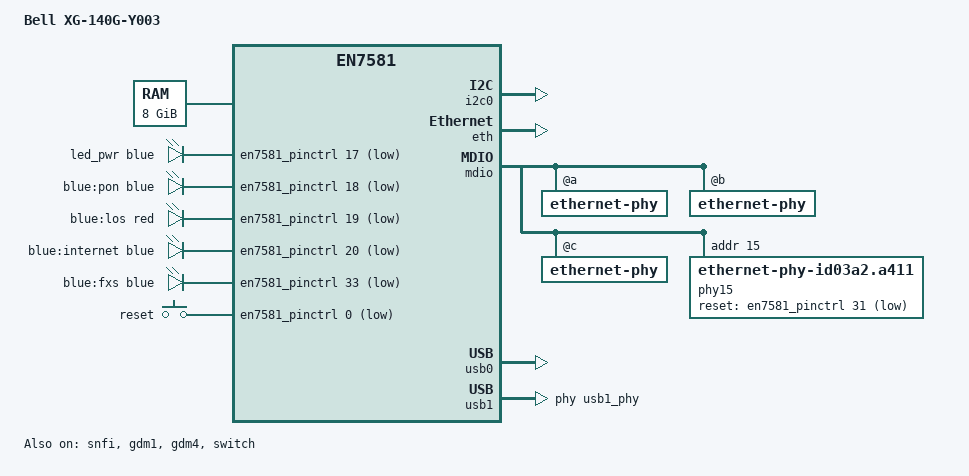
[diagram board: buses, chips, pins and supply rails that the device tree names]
// SPDX-License-Identifier: (GPL-2.0-only OR BSD-2-Clause)
/dts-v1/;

#include <dt-bindings/leds/common.h>
#include <dt-bindings/gpio/gpio.h>
#include <dt-bindings/input/input.h>
#include "an7581.dtsi"

/ {
	model = "Bell XG-140G-Y003";
	compatible = "bell,xg-140g-y003", "airoha,an7581", "airoha,en7581";

	aliases {
		serial0 = &uart1;

		led-boot = &led_pwr;
		led-failsafe = &led_pwr;
		led-running = &led_pwr;
		led-upgrade = &led_pwr;
	};

	chosen {
		bootargs-append = " root=/dev/ubiblock0_0 rootfstype=squashfs ro console=ttyS0,115200 earlycon";
		stdout-path = "serial0:115200n8";
	};

	memory@80000000 {
		device_type = "memory";
		reg = <0x0 0x80000000 0x2 0x00000000>;
	};

	leds {
		compatible = "gpio-leds";

		led_pwr: led-0 {
			// label = "blue:power";
			color = <LED_COLOR_ID_BLUE>;
			function = LED_FUNCTION_POWER;
			gpios = <&en7581_pinctrl 17 GPIO_ACTIVE_LOW>;
			linux,default-trigger = "default-on";
		};

		led-1 {
			label = "blue:pon";
			color = <LED_COLOR_ID_BLUE>;
			function = LED_FUNCTION_STATUS;
			gpios = <&en7581_pinctrl 18 GPIO_ACTIVE_LOW>;
		};

		led-2 {
			label = "blue:los";
			color = <LED_COLOR_ID_RED>;
			function = LED_FUNCTION_STATUS;
			gpios = <&en7581_pinctrl 19 GPIO_ACTIVE_LOW>;
		};

		led-3 {
			label = "blue:internet";
			color = <LED_COLOR_ID_BLUE>;
			function = LED_FUNCTION_STATUS;
			gpios = <&en7581_pinctrl 20 GPIO_ACTIVE_LOW>;
		};

		led-4 {
			label = "blue:fxs";
			color = <LED_COLOR_ID_BLUE>;
			function = LED_FUNCTION_STATUS;
			gpios = <&en7581_pinctrl 33 GPIO_ACTIVE_LOW>;
		};
	};

	buttons {
		compatible = "gpio-keys";

		reset {
			label = "reset";
			gpios = <&en7581_pinctrl 0 GPIO_ACTIVE_LOW>;
			linux,input-type = <EV_KEY>;
			linux,code = <KEY_RESTART>;
			debounce-interval = <60>;
		};
	};
};

&en7581_pinctrl {
	gpio-ranges = <&en7581_pinctrl 0 13 47>;

	mdio_pins: mdio-pins {
		mux {
			function = "mdio";
			groups = "mdio";
		};

		conf {
			pins = "gpio2";
			output-high;
		};
	};

	gswp2_led0_pins: gswp2-led0-pins {
		mux {
			pins = "gpio34";
			function = "phy2_led0";
		};
	};

	gswp3_led0_pins: gswp3-led0-pins {
		mux {
			pins = "gpio35";
			function = "phy3_led0";
		};
	};

	gswp4_led0_pins: gswp4-led0-pins {
		mux {
			pins = "gpio42";
			function = "phy4_led0";
		};
	};
};

&snfi {
	status = "okay";
};

&spi_nand {
	partitions {
		compatible = "fixed-partitions";
		#address-cells = <1>;
		#size-cells = <1>;

		partition@0 {
			label = "bootloader";
			reg = <0x00000000 0x00080000>;
			read-only;

			compatible = "fixed-partitions";
			#address-cells = <1>;
			#size-cells = <1>;

			partition@0 {
				label = "u-boot";
				reg = <0x0 0x7c000>;
			};

			partition@7c000 {
				label = "u-boot-env";
				reg = <0x7c000 0x2000>;

				// nvmem-layout {
				// 	compatible = "u-boot,env";
				// };
			};
		};

		partition@80000 {
			label = "romfile";
			reg = <0x00080000 0x00040000>;
		};

		partition@c0000 {
			label = "nsb_master";
			reg = <0x000c0000 0x02880000>;

			compatible = "fixed-partitions";
			#address-cells = <1>;
			#size-cells = <1>;

			partition@0 {
				label = "kernel";
				reg = <0x0 0x880000>;
			};

			partition@880000 {
				compatible = "linux,ubi";
				label = "ubi";
				reg = <0x880000 0x2000000>;
			};
		};

		partition@2940000 {
			label = "nsb_slave";
			reg = <0x02940000 0x02880000>;
		};

		partition@51c0000 {
			label = "bosa";
			reg = <0x051c0000 0x00040000>;
		};

		partition@5200000 {
			label = "ri";
			reg = <0x05200000 0x00040000>;
		};

		partition@5240000 {
			label = "flag";
			reg = <0x05240000 0x00040000>;
		};

		partition@5280000 {
			label = "flagback";
			reg = <0x05280000 0x00040000>;
		};

		partition@52c0000 {
			label = "config";
			reg = <0x052c0000 0x00a00000>;
		};

		partition@5cc0000 {
			label = "framwork1";
			reg = <0x05cc0000 0x01000000>;
		};

		partition@6cc0000 {
			label = "framwork2";
			reg = <0x06cc0000 0x01000000>;
		};

		partition@7cc0000 {
			label = "apps";
			reg = <0x07cc0000 0x060e0000>;
		};

		partition@dda0000 {
			label = "oopsfs";
			reg = <0x0dda0000 0x00400000>;
		};

		partition@e1a0000 {
			label = "log";
			reg = <0x0e1a0000 0x00a00000>;
		};
	};
};

&i2c0 {
	status = "okay";
};

&eth {
	status = "okay";
};

&gdm1 {
	status = "okay";
};

&gdm4 {
	status = "okay";
	phy-handle = <&phy15>;
	phy-mode = "2500base-x";
	openwrt,netdev-name = "lan1";
};

&switch {
	status = "okay";
	pinctrl-names = "default";
	pinctrl-0 = <&mdio_pins>;

	ports {
		port@2 {
			status = "okay";
			label = "lan2";
		};

		port@3 {
			status = "okay";
			label = "lan3";
		};

		port@4 {
			status = "okay";
			label = "lan4";
		};
	};

	mdio {
		ethernet-phy@a {
			status = "okay";
			pinctrl-names = "gbe-led";
			pinctrl-0 = <&gswp2_led0_pins>;

			leds {
				led@0 {
					status = "okay";
					active-low;
					function = LED_FUNCTION_LAN;
					color = <LED_COLOR_ID_BLUE>;
				};
			};
		};

		ethernet-phy@b {
			status = "okay";
			pinctrl-names = "gbe-led";
			pinctrl-0 = <&gswp3_led0_pins>;

			leds {
				led@0 {
					status = "okay";
					active-low;
					function = LED_FUNCTION_LAN;
					color = <LED_COLOR_ID_BLUE>;
				};
			};
		};

		ethernet-phy@c {
			status = "okay";
			pinctrl-names = "gbe-led";
			pinctrl-0 = <&gswp4_led0_pins>;

			leds {
				led@0 {
					status = "okay";
					active-low;
					function = LED_FUNCTION_LAN;
					color = <LED_COLOR_ID_BLUE>;
				};
			};
		};

		phy15: ethernet-phy@f {
			/* Airoha EN8811H */
			/* We need special ID here, since EN8811H doesn't response any MDIO when reset=1 */
			compatible = "ethernet-phy-id03a2.a411", "ethernet-phy-ieee802.3-c22";
			reg = <15>;

			reset-gpios = <&en7581_pinctrl 31 GPIO_ACTIVE_LOW>;
			reset-assert-us = <10000>;
			reset-deassert-us = <2000000>;

			leds {
				#address-cells = <1>;
				#size-cells = <0>;

				led@0 {
					reg = <0>;
					function = LED_FUNCTION_LAN;
					color = <LED_COLOR_ID_BLUE>;
				};
			};
		};
	};
};

&usb0 {
	status = "okay";
};

&usb1 {
	status = "okay";
	phys = <&usb1_phy PHY_TYPE_USB2>;
	mediatek,u3p-dis-msk = <0x1>;
};
